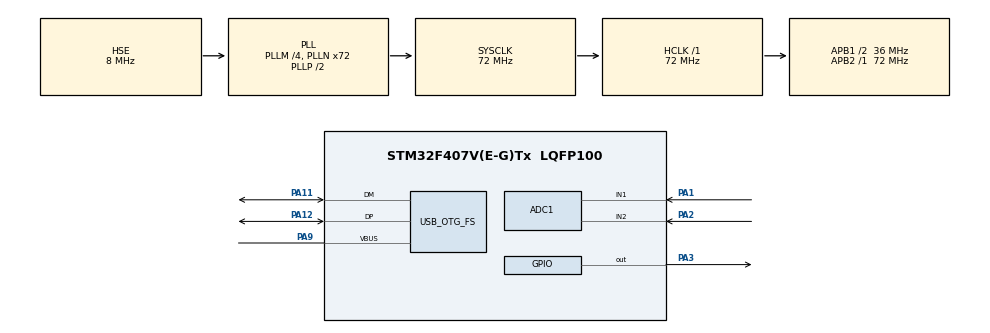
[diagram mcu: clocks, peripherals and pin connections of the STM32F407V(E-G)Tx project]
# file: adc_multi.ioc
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ADC1.Channel-0\#ChannelRegularConversion=ADC_CHANNEL_2
ADC1.Channel-1\#ChannelRegularConversion=ADC_CHANNEL_1
ADC1.ContinuousConvMode=ENABLE
ADC1.EOCSelection=ADC_EOC_SEQ_CONV
ADC1.NbrOfConversion=2
ADC1.NbrOfConversionFlag=1
ADC1.Rank-0\#ChannelRegularConversion=1
ADC1.Rank-1\#ChannelRegularConversion=2
ADC1.SamplingTime-0\#ChannelRegularConversion=ADC_SAMPLETIME_3CYCLES
ADC1.SamplingTime-1\#ChannelRegularConversion=ADC_SAMPLETIME_3CYCLES
ADC1.ScanConvMode=ENABLE
ADC1.master=1
Mcu.Family=STM32F4
Mcu.Name=STM32F407V(E-G)Tx
Mcu.Package=LQFP100
NVIC.OTG_FS_IRQn=true\:0\:0\:false\:false\:true\:false
NVIC.PriorityGroup=NVIC_PRIORITYGROUP_4
PA1.Signal=ADCx_IN1
PA11.Mode=Device_Only
PA11.Signal=USB_OTG_FS_DM
PA12.Mode=Device_Only
PA12.Signal=USB_OTG_FS_DP
PA2.Signal=ADCx_IN2
PA3.Signal=GPIO_Output
PA9.Mode=Activate_VBUS
PA9.Signal=USB_OTG_FS_VBUS
PH0-OSC_IN.Mode=HSE-External-Oscillator
PH0-OSC_IN.Signal=RCC_OSC_IN
PH1-OSC_OUT.Mode=HSE-External-Oscillator
PH1-OSC_OUT.Signal=RCC_OSC_OUT
ProjectManager.HeapSize=0x200
ProjectManager.StackSize=0x400
ProjectManager.TargetToolchain=TrueSTUDIO
RCC.48MHZClocksFreq_Value=48000000
RCC.AHBFreq_Value=72000000
RCC.APB1CLKDivider=RCC_HCLK_DIV2
RCC.APB1Freq_Value=36000000
RCC.APB1TimFreq_Value=72000000
RCC.APB2Freq_Value=72000000
RCC.APB2TimFreq_Value=72000000
RCC.CortexFreq_Value=72000000
RCC.HCLKFreq_Value=72000000
RCC.HSE_VALUE=8000000
RCC.HSI_VALUE=16000000
RCC.LSE_VALUE=32768
RCC.PLLM=4
RCC.PLLN=72
RCC.PLLQ=3
RCC.SYSCLKFreq_VALUE=72000000
RCC.SYSCLKSource=RCC_SYSCLKSOURCE_PLLCLK
RCC.VCOOutputFreq_Value=144000000
SH.ADCx_IN1.0=ADC1_IN1,IN1
SH.ADCx_IN2.0=ADC1_IN2,IN2
USB_DEVICE.CLASS_NAME_FS=CDC
USB_DEVICE.VirtualMode-CDC_FS=Cdc
USB_DEVICE.VirtualModeFS=Cdc_FS
USB_OTG_FS.VirtualMode=Device_Only
VP_USB_DEVICE_VS_USB_DEVICE_CDC_FS.Mode=CDC_FS
board=adc_multi

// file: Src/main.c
/**
  ******************************************************************************
  * File Name          : main.c
  * Description        : Main program body
  ******************************************************************************
  * This notice applies to any and all portions of this file
  * that are not between comment pairs USER CODE BEGIN and
  * USER CODE END. Other portions of this file, whether
  * inserted by the user or by software development tools
  * are owned by their respective copyright owners.
  *
  * Copyright (c) 2018 STMicroelectronics International N.V.
  * All rights reserved.
  *
  * Redistribution and use in source and binary forms, with or without
  * modification, are permitted, provided that the following conditions are met:
  *
  * 1. Redistribution of source code must retain the above copyright notice,
  *    this list of conditions and the following disclaimer.
  * 2. Redistributions in binary form must reproduce the above copyright notice,
  *    this list of conditions and the following disclaimer in the documentation
  *    and/or other materials provided with the distribution.
  * 3. Neither the name of STMicroelectronics nor the names of other
  *    contributors to this software may be used to endorse or promote products
  *    derived from this software without specific written permission.
  * 4. This software, including modifications and/or derivative works of this
  *    software, must execute solely and exclusively on microcontroller or
  *    microprocessor devices manufactured by or for STMicroelectronics.
  * 5. Redistribution and use of this software other than as permitted under
  *    this license is void and will automatically terminate your rights under
  *    this license.
  *
  * THIS SOFTWARE IS PROVIDED BY STMICROELECTRONICS AND CONTRIBUTORS "AS IS"
  * AND ANY EXPRESS, IMPLIED OR STATUTORY WARRANTIES, INCLUDING, BUT NOT
  * LIMITED TO, THE IMPLIED WARRANTIES OF MERCHANTABILITY, FITNESS FOR A
  * PARTICULAR PURPOSE AND NON-INFRINGEMENT OF THIRD PARTY INTELLECTUAL PROPERTY
  * RIGHTS ARE DISCLAIMED TO THE FULLEST EXTENT PERMITTED BY LAW. IN NO EVENT
  * SHALL STMICROELECTRONICS OR CONTRIBUTORS BE LIABLE FOR ANY DIRECT, INDIRECT,
  * INCIDENTAL, SPECIAL, EXEMPLARY, OR CONSEQUENTIAL DAMAGES (INCLUDING, BUT NOT
  * LIMITED TO, PROCUREMENT OF SUBSTITUTE GOODS OR SERVICES; LOSS OF USE, DATA,
  * OR PROFITS; OR BUSINESS INTERRUPTION) HOWEVER CAUSED AND ON ANY THEORY OF
  * LIABILITY, WHETHER IN CONTRACT, STRICT LIABILITY, OR TORT (INCLUDING
  * NEGLIGENCE OR OTHERWISE) ARISING IN ANY WAY OUT OF THE USE OF THIS SOFTWARE,
  * EVEN IF ADVISED OF THE POSSIBILITY OF SUCH DAMAGE.
  *
  ******************************************************************************
  */

#include "main.h"
#include "stm32f4xx_hal.h"
#include "usb_device.h"

/* USER CODE BEGIN Includes */

/* USER CODE END PV */

/* USER CODE END Includes */

ADC_HandleTypeDef hadc1;

/* USER CODE BEGIN PV */
/* Private variables ---------------------------------------------------------*/

/* USER CODE END PV */

void SystemClock_Config(void);
static void MX_GPIO_Init(void);
static void MX_ADC1_Init(void);

/* USER CODE BEGIN PFP */
/* Private function prototypes -----------------------------------------------*/

/* USER CODE END PFP */

/* USER CODE BEGIN 0 */

uint16_t v_adc1_u16 = 0;
uint16_t v_adc2_u16 = 0;

uint8_t* varToStrConv(uint32_t v_var_u32)
{
	static uint8_t p_string_u8[5];
	int8_t cnt;

	for(cnt = 3; cnt >= 0; cnt--)
	{
	p_string_u8[cnt] = ((v_var_u32 % 10) + 48);
	v_var_u32 /= 10;
	}
	p_string_u8[5] = '\n';
	return p_string_u8;
}
/* USER CODE END 0 */

int main(void)
{

  /* MCU Configuration----------------------------------------------------------*/

  /* Reset of all peripherals, Initializes the Flash interface and the Systick. */
  HAL_Init();

  /* Configure the system clock */
  SystemClock_Config();

  /* Initialize all configured peripherals */
  MX_GPIO_Init();
  MX_ADC1_Init();
  MX_USB_DEVICE_Init();

  /* USER CODE BEGIN 2 */
  HAL_ADC_Start(&hadc1);
  /* USER CODE END 2 */

  /* Infinite loop */
  while (1)
  {

  /* USER CODE BEGIN 3 */

	     HAL_ADC_PollForConversion(&hadc1, 100);
	     v_adc1_u16 = HAL_ADC_GetValue(&hadc1);

	     HAL_ADC_PollForConversion(&hadc1, 100);
	     v_adc2_u16 = HAL_ADC_GetValue(&hadc1);

	     //CDC_Transmit_FS("adc1 = ", 7);
	     //CDC_Transmit_FS(varToStrConv(v_adc1_u16), 5);
	     //CDC_Transmit_FS("acd2 = ", 7);
	     //CDC_Transmit_FS(varToStrConv(v_adc2_u16), 5);

  }
  /* USER CODE END 3 */

}

/** System Clock Configuration
*/
void SystemClock_Config(void)
{

  RCC_OscInitTypeDef RCC_OscInitStruct;
  RCC_ClkInitTypeDef RCC_ClkInitStruct;

    /**Configure the main internal regulator output voltage
    */
  __HAL_RCC_PWR_CLK_ENABLE();

  __HAL_PWR_VOLTAGESCALING_CONFIG(PWR_REGULATOR_VOLTAGE_SCALE1);

    /**Initializes the CPU, AHB and APB busses clocks
    */
  RCC_OscInitStruct.OscillatorType = RCC_OSCILLATORTYPE_HSE;
  RCC_OscInitStruct.HSEState = RCC_HSE_ON;
  RCC_OscInitStruct.PLL.PLLState = RCC_PLL_ON;
  RCC_OscInitStruct.PLL.PLLSource = RCC_PLLSOURCE_HSE;
  RCC_OscInitStruct.PLL.PLLM = 4;
  RCC_OscInitStruct.PLL.PLLN = 72;
  RCC_OscInitStruct.PLL.PLLP = RCC_PLLP_DIV2;
  RCC_OscInitStruct.PLL.PLLQ = 3;
  if (HAL_RCC_OscConfig(&RCC_OscInitStruct) != HAL_OK)
  {
    _Error_Handler(__FILE__, __LINE__);
  }

    /**Initializes the CPU, AHB and APB busses clocks
    */
  RCC_ClkInitStruct.ClockType = RCC_CLOCKTYPE_HCLK|RCC_CLOCKTYPE_SYSCLK
                              |RCC_CLOCKTYPE_PCLK1|RCC_CLOCKTYPE_PCLK2;
  RCC_ClkInitStruct.SYSCLKSource = RCC_SYSCLKSOURCE_PLLCLK;
  RCC_ClkInitStruct.AHBCLKDivider = RCC_SYSCLK_DIV1;
  RCC_ClkInitStruct.APB1CLKDivider = RCC_HCLK_DIV2;
  RCC_ClkInitStruct.APB2CLKDivider = RCC_HCLK_DIV1;

  if (HAL_RCC_ClockConfig(&RCC_ClkInitStruct, FLASH_LATENCY_2) != HAL_OK)
  {
    _Error_Handler(__FILE__, __LINE__);
  }

    /**Configure the Systick interrupt time
    */
  HAL_SYSTICK_Config(HAL_RCC_GetHCLKFreq()/1000);

    /**Configure the Systick
    */
  HAL_SYSTICK_CLKSourceConfig(SYSTICK_CLKSOURCE_HCLK);

  /* SysTick_IRQn interrupt configuration */
  HAL_NVIC_SetPriority(SysTick_IRQn, 0, 0);
}

/* ADC1 init function */
static void MX_ADC1_Init(void)
{

  ADC_ChannelConfTypeDef sConfig;

    /**Configure the global features of the ADC (Clock, Resolution, Data Alignment and number of conversion)
    */
  hadc1.Instance = ADC1;
  hadc1.Init.ClockPrescaler = ADC_CLOCK_SYNC_PCLK_DIV2;
  hadc1.Init.Resolution = ADC_RESOLUTION_12B;
  hadc1.Init.ScanConvMode = ENABLE;
  hadc1.Init.ContinuousConvMode = ENABLE;
  hadc1.Init.DiscontinuousConvMode = DISABLE;
  hadc1.Init.ExternalTrigConvEdge = ADC_EXTERNALTRIGCONVEDGE_NONE;
  hadc1.Init.ExternalTrigConv = ADC_SOFTWARE_START;
  hadc1.Init.DataAlign = ADC_DATAALIGN_RIGHT;
  hadc1.Init.NbrOfConversion = 2;
  hadc1.Init.DMAContinuousRequests = DISABLE;
  hadc1.Init.EOCSelection = ADC_EOC_SEQ_CONV;
  if (HAL_ADC_Init(&hadc1) != HAL_OK)
  {
    _Error_Handler(__FILE__, __LINE__);
  }

    /**Configure for the selected ADC regular channel its corresponding rank in the sequencer and its sample time.
    */
  sConfig.Channel = ADC_CHANNEL_2;
  sConfig.Rank = 1;
  sConfig.SamplingTime = ADC_SAMPLETIME_3CYCLES;
  if (HAL_ADC_ConfigChannel(&hadc1, &sConfig) != HAL_OK)
  {
    _Error_Handler(__FILE__, __LINE__);
  }

    /**Configure for the selected ADC regular channel its corresponding rank in the sequencer and its sample time.
    */
  sConfig.Channel = ADC_CHANNEL_1;
  sConfig.Rank = 2;
  if (HAL_ADC_ConfigChannel(&hadc1, &sConfig) != HAL_OK)
  {
    _Error_Handler(__FILE__, __LINE__);
  }

}

/** Configure pins as
        * Analog
        * Input
        * Output
        * EVENT_OUT
        * EXTI
*/
static void MX_GPIO_Init(void)
{

  GPIO_InitTypeDef GPIO_InitStruct;

  /* GPIO Ports Clock Enable */
  __HAL_RCC_GPIOH_CLK_ENABLE();
  __HAL_RCC_GPIOA_CLK_ENABLE();

  /*Configure GPIO pin Output Level */
  HAL_GPIO_WritePin(GPIOA, GPIO_PIN_3, GPIO_PIN_RESET);

  /*Configure GPIO pin : PA3 */
  GPIO_InitStruct.Pin = GPIO_PIN_3;
  GPIO_InitStruct.Mode = GPIO_MODE_OUTPUT_PP;
  GPIO_InitStruct.Pull = GPIO_NOPULL;
  GPIO_InitStruct.Speed = GPIO_SPEED_FREQ_LOW;
  HAL_GPIO_Init(GPIOA, &GPIO_InitStruct);

}

void _Error_Handler(char * file, int line)
{
  while(1)
  {
  }
}

/************************ (C) COPYRIGHT STMicroelectronics *****END OF FILE****/
